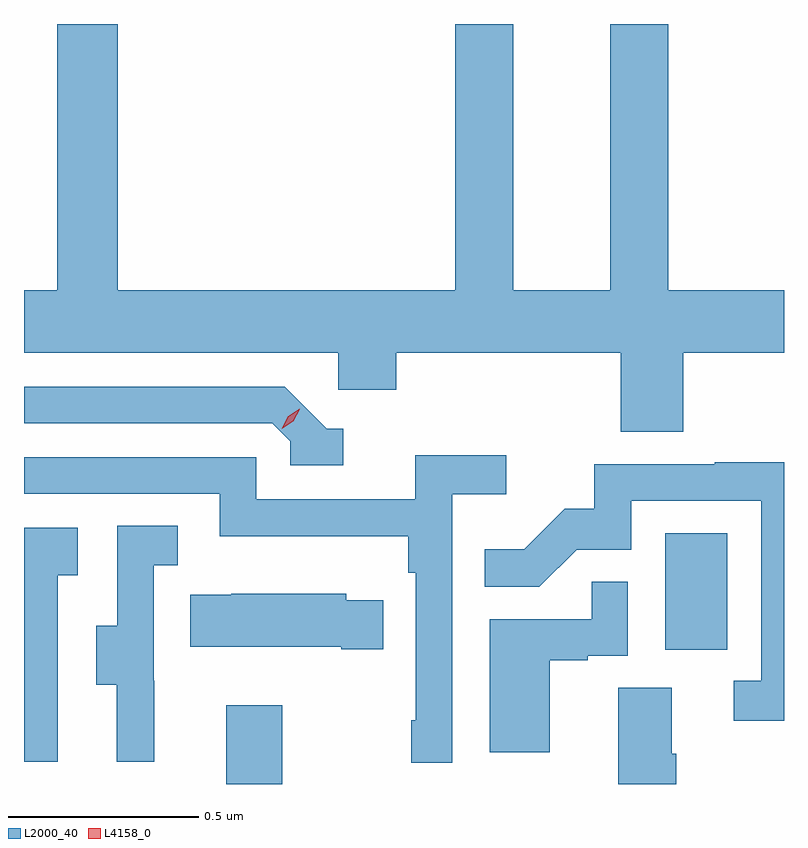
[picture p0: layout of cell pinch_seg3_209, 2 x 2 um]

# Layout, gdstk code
import gdstk
lib = gdstk.Library(unit=1e-6, precision=1e-09)
def R(c, l, rs):  # rectangles x0, y0, x1, y1
    for r in rs: c.add(gdstk.rectangle(r[:2], r[2:], *l))
def P(c, l, *ps):  # polygons
    for p in ps: c.add(gdstk.Polygon(p, *l))
L2000_40 = (2000, 40)
L4158_0 = (4158, 0)

pinch_seg3_209 = lib.new_cell('pinch_seg3_209')
R(pinch_seg3_209, L2000_40, [(954.527,731.749,954.675,731.956), (955.682,732.102,955.846,732.409)])
P(pinch_seg3_209, L2000_40, [(955.73,732.884),(955.995,732.884),(955.995,733.048),(955.691,733.048),(955.691,733.749),(955.538,733.749),(955.538,733.048),(955.282,733.048),(955.282,733.749),(955.13,733.749),(955.13,733.048),(954.242,733.048),(954.242,733.749),(954.082,733.749),(954.082,733.048),(953.995,733.048),(953.995,732.884),(954.822,732.884),(954.822,732.786),(954.974,732.786),(954.974,732.884),(955.565,732.884),(955.565,732.676),(955.73,732.676)],
  [(954.835,732.684),(954.792,732.684),(954.681,732.795),(953.995,732.795),(953.995,732.699),(954.648,732.699),(954.696,732.651),(954.696,732.588),(954.835,732.588)],
  [(955.122,732.512),(955.264,732.512),(955.264,732.614),(955.025,732.614),(955.025,732.498),(954.606,732.498),(954.606,732.609),(953.995,732.609),(953.995,732.513),(954.51,732.513),(954.51,732.401),(955.006,732.401),(955.006,732.305),(955.026,732.305),(955.026,731.917),(955.014,731.917),(955.014,731.805),(955.122,731.805)],
  [(955.995,732.596),(955.813,732.596),(955.813,732.591),(955.495,732.591),(955.495,732.474),(955.418,732.474),(955.311,732.367),(955.207,732.367),(955.207,732.268),(955.351,732.268),(955.449,732.366),(955.593,732.366),(955.593,732.495),(955.935,732.495),(955.935,732.021),(955.863,732.021),(955.863,731.916),(955.995,731.916)],
  [(954.338,732.021),(954.336,732.021),(954.336,732.325),(954.4,732.325),(954.4,732.428),(954.24,732.428),(954.24,732.165),(954.185,732.165),(954.185,732.01),(954.239,732.01),(954.239,731.808),(954.338,731.808)],
  [(954.084,732.299),(954.136,732.299),(954.136,732.423),(953.995,732.423),(953.995,731.808),(954.084,731.808)],
  [(955.378,732.075),(955.478,732.075),(955.478,732.087),(955.584,732.087),(955.584,732.281),(955.489,732.281),(955.489,732.183),(955.22,732.183),(955.22,731.832),(955.378,731.832)],
  [(954.941,732.232),(954.843,732.232),(954.843,732.25),(954.541,732.25),(954.541,732.247),(954.433,732.247),(954.433,732.11),(954.83,732.11),(954.83,732.103),(954.941,732.103)],
  [(955.712,731.828),(955.699,731.828),(955.699,732.002),(955.559,732.002),(955.559,731.749),(955.712,731.749)])
P(pinch_seg3_209, L4158_0, [(954.673,732.684),(954.673,732.684),(954.69,732.717),(954.721,732.736),(954.721,732.736),(954.721,732.735),(954.704,732.703),(954.673,732.684)])

lib.write_gds('pinch_seg3_209.gds')
